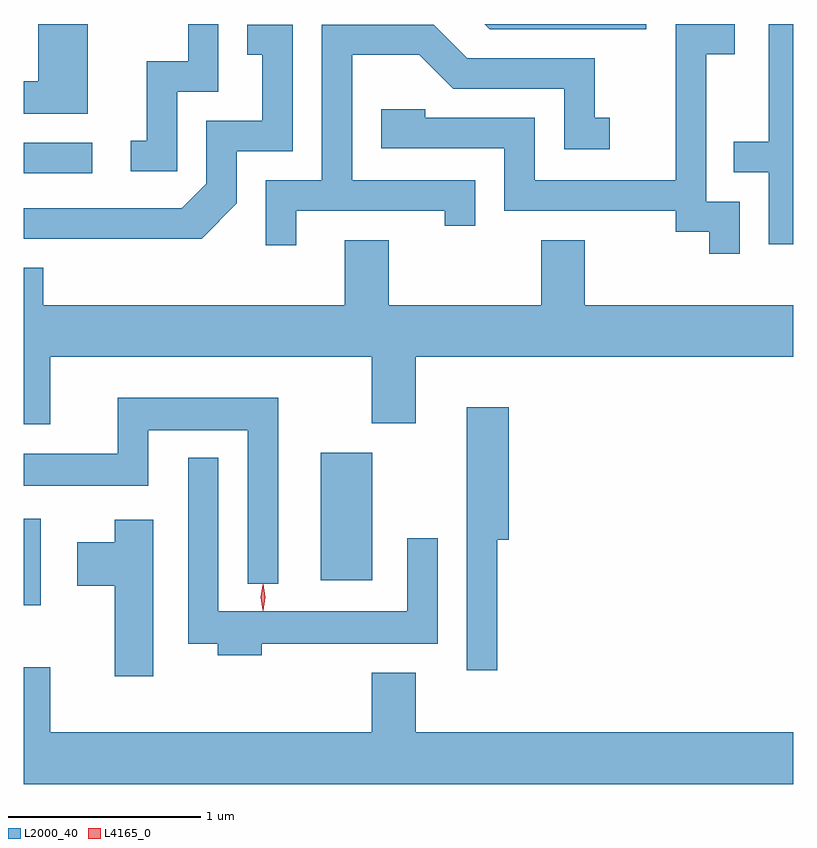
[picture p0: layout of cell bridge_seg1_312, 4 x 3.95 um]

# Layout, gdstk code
import gdstk
lib = gdstk.Library(unit=1e-6, precision=1e-09)
def R(c, l, rs):  # rectangles x0, y0, x1, y1
    for r in rs: c.add(gdstk.rectangle(r[:2], r[2:], *l))
def P(c, l, *ps):  # polygons
    for p in ps: c.add(gdstk.Polygon(p, *l))
L2000_40 = (2000, 40)
L4165_0 = (4165, 0)

bridge_seg1_312 = lib.new_cell('bridge_seg1_312')
R(bridge_seg1_312, L2000_40, [(846.412,873.866,846.499,874.314), (847.956,873.996,848.224,874.659), (846.412,876.111,846.768,876.269)])
P(bridge_seg1_312, L2000_40, [(850.134,875.964),(849.959,875.964),(849.959,876.731),(850.109,876.731),(850.109,876.887),(849.801,876.887),(849.801,876.074),(849.069,876.074),(849.069,876.399),(848.499,876.399),(848.499,876.444),(848.271,876.444),(848.271,876.241),(848.911,876.241),(848.911,875.916),(849.801,875.916),(849.801,875.806),(849.976,875.806),(849.976,875.693),(850.134,875.693)],
  [(850.412,876.887),(850.286,876.887),(850.286,876.274),(850.103,876.274),(850.103,876.116),(850.286,876.116),(850.286,875.741),(850.412,875.741)],
  [(849.649,876.887),(848.808,876.887),(848.834,876.861),(849.649,876.861)],
  [(847.209,876.536),(847.424,876.536),(847.424,876.887),(847.266,876.887),(847.266,876.694),(847.051,876.694),(847.051,876.279),(846.968,876.279),(846.968,876.121),(847.209,876.121)],
  [(846.744,876.887),(846.486,876.887),(846.486,876.589),(846.412,876.589),(846.412,876.421),(846.744,876.421)],
  [(847.519,875.954),(847.519,876.226),(847.809,876.226),(847.809,876.884),(847.573,876.884),(847.573,876.726),(847.651,876.726),(847.651,876.384),(847.361,876.384),(847.361,876.057),(847.234,875.929),(846.412,875.929),(846.412,875.771),(847.337,875.771)],
  [(847.829,875.916),(848.601,875.916),(848.601,875.838),(848.759,875.838),(848.759,876.074),(848.119,876.074),(848.119,876.726),(848.469,876.726),(848.644,876.551),(849.221,876.551),(849.221,876.236),(849.458,876.236),(849.458,876.399),(849.379,876.399),(849.379,876.709),(848.717,876.709),(848.542,876.884),(847.961,876.884),(847.961,876.074),(847.671,876.074),(847.671,875.738),(847.829,875.738)],
  [(846.549,875.156),(848.221,875.156),(848.221,874.811),(848.449,874.811),(848.449,875.156),(850.412,875.156),(850.412,875.424),(849.329,875.424),(849.329,875.764),(849.101,875.764),(849.101,875.424),(848.309,875.424),(848.309,875.764),(848.081,875.764),(848.081,875.424),(846.514,875.424),(846.514,875.619),(846.412,875.619),(846.412,874.806),(846.549,874.806)],
  [(847.734,874.944),(846.901,874.944),(846.901,874.654),(846.412,874.654),(846.412,874.486),(847.059,874.486),(847.059,874.776),(847.576,874.776),(847.576,873.978),(847.734,873.978)],
  [(848.874,874.206),(848.934,874.206),(848.934,874.894),(848.716,874.894),(848.716,873.528),(848.874,873.528)],
  [(847.649,873.666),(848.564,873.666),(848.564,874.213),(848.406,874.213),(848.406,873.834),(847.424,873.834),(847.424,874.633),(847.266,874.633),(847.266,873.666),(847.421,873.666),(847.421,873.606),(847.649,873.606)],
  [(847.084,874.309),(846.886,874.309),(846.886,874.194),(846.691,874.194),(846.691,873.966),(846.886,873.966),(846.886,873.496),(847.084,873.496)],
  [(850.412,873.204),(848.449,873.204),(848.449,873.514),(848.221,873.514),(848.221,873.204),(846.549,873.204),(846.549,873.544),(846.412,873.544),(846.412,872.936),(850.412,872.936)])
P(bridge_seg1_312, L4165_0, [(847.657,873.837),(847.648,873.907),(847.657,873.976),(847.658,873.976),(847.658,873.976),(847.668,873.907),(847.658,873.837),(847.658,873.837)],
  [(847.655,873.839),(847.655,873.84),(847.645,873.906),(847.655,873.972),(847.655,873.973),(847.656,873.972),(847.666,873.906),(847.656,873.84)])

lib.write_gds('bridge_seg1_312.gds')
